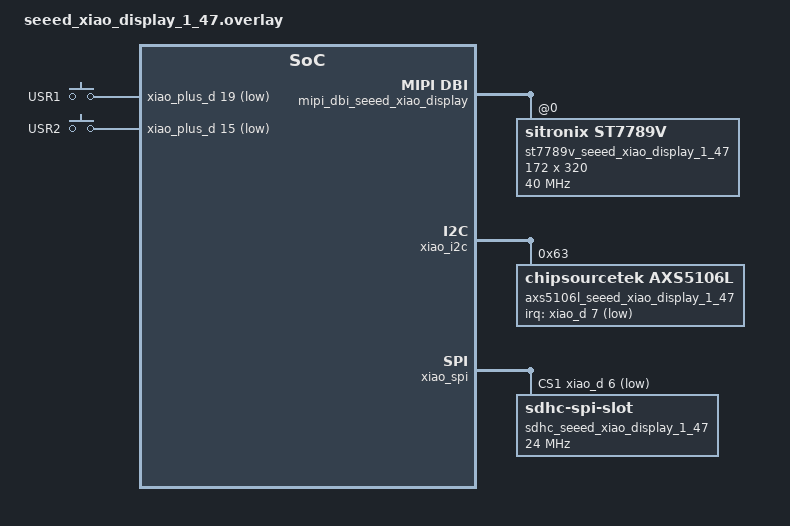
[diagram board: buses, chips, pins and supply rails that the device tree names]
/*
 * SPDX-FileCopyrightText: Copyright The Zephyr Project Contributors
 * SPDX-License-Identifier: Apache-2.0
 */

#include "seeed_xiao_display_gadgets.dtsi"

/ {
	chosen {
		zephyr,display = &st7789v_seeed_xiao_display_1_47;
		zephyr,touch = &axs5106l_seeed_xiao_display_1_47;
	};

	aliases {
		sw0 = &usr1_seeed_xiao_display_1_47;
		sw1 = &usr2_seeed_xiao_display_1_47;
	};

	buttons_seeed_xiao_display_1_47: buttons {
		compatible = "gpio-keys";

		usr1_seeed_xiao_display_1_47: button-usr1 {
			gpios = <&xiao_plus_d 19 (GPIO_PULL_UP | GPIO_ACTIVE_LOW)>;
			label = "USR1";
			zephyr,code = <INPUT_KEY_0>;
		};

		usr2_seeed_xiao_display_1_47: button-usr2 {
			gpios = <&xiao_plus_d 15 (GPIO_PULL_UP | GPIO_ACTIVE_LOW)>;
			label = "USR2";
			zephyr,code = <INPUT_KEY_1>;
		};
	};
};

&mipi_dbi_seeed_xiao_display {
	/*
	 * The JD9853A controller of this panel is driven through its
	 * ST7789V compatible command set.
	 */
	st7789v_seeed_xiao_display_1_47: st7789v@0 {
		compatible = "sitronix,st7789v";
		reg = <0>;
		mipi-max-frequency = <DT_FREQ_M(40)>;
		mipi-mode = "MIPI_DBI_MODE_SPI_4WIRE";
		width = <172>;
		height = <320>;
		x-offset = <34>;
		y-offset = <0>;
		mdac = <0x48>;
		inversion-off;
		pixel-format = <PANEL_PIXEL_FORMAT_RGB_565X>;
		porch-param = [0c 0c 00 33 33];
		gctrl = <0x35>;
		vcom = <0x28>;
		lcm = <0x0c>;
		vrhs = <0x10>;
		vdvs = <0x20>;
		pwctrl1-param = [a4 a1];
		pvgam-param = [d0 00 02 07 0a 28 32 44 42 06 0e 12 14 17];
		nvgam-param = [d0 00 02 07 0a 28 31 54 47 0e 1c 17 1b 1e];
		ram-param = [00 f0];
	};
};

&xiao_i2c {
	/*
	 * The touch controller shares the reset line of the display, which has
	 * no pull-up resistor and is only driven by the display driver.
	 */
	axs5106l_seeed_xiao_display_1_47: axs5106l@63 {
		compatible = "chipsourcetek,axs5106l";
		reg = <0x63>;
		irq-gpios = <&xiao_d 7 (GPIO_PULL_UP | GPIO_ACTIVE_LOW)>;
		screen-width = <172>;
		screen-height = <320>;
		inverted-x;
	};
};

&xiao_spi {
	cs-gpios = <&xiao_d 2 GPIO_ACTIVE_LOW>, <&xiao_d 6 GPIO_ACTIVE_LOW>;

	sdhc_seeed_xiao_display_1_47: sdhc@1 {
		compatible = "zephyr,sdhc-spi-slot";
		reg = <1>;
		spi-max-frequency = <DT_FREQ_M(24)>;

		mmc {
			compatible = "zephyr,sdmmc-disk";
			disk-name = "SD";
		};
	};
};
